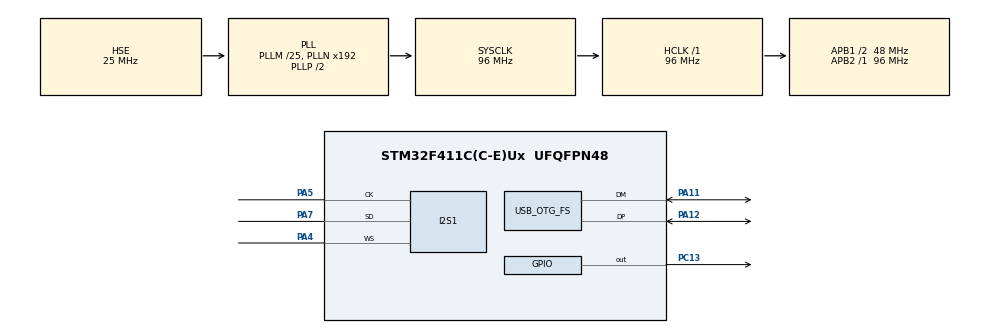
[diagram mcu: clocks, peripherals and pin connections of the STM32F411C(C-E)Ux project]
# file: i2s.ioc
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Dma.Request0=SPI1_RX
Dma.SPI1_RX.0.Direction=DMA_PERIPH_TO_MEMORY
Dma.SPI1_RX.0.FIFOMode=DMA_FIFOMODE_DISABLE
Dma.SPI1_RX.0.Instance=DMA2_Stream0
Dma.SPI1_RX.0.MemDataAlignment=DMA_MDATAALIGN_HALFWORD
Dma.SPI1_RX.0.MemInc=DMA_MINC_ENABLE
Dma.SPI1_RX.0.Mode=DMA_CIRCULAR
Dma.SPI1_RX.0.PeriphDataAlignment=DMA_PDATAALIGN_HALFWORD
Dma.SPI1_RX.0.PeriphInc=DMA_PINC_DISABLE
Dma.SPI1_RX.0.Priority=DMA_PRIORITY_VERY_HIGH
I2S1.AudioFreq=I2S_AUDIOFREQ_48K
I2S1.DataFormat=I2S_DATAFORMAT_24B
I2S1.ErrorAudioFreq=-0.01 %
I2S1.FullDuplexMode=I2S_FULLDUPLEXMODE_DISABLE
I2S1.Instance=SPI$Index
I2S1.Mode=I2S_MODE_MASTER_RX
I2S1.RealAudioFreq=47.991 KHz
I2S1.VirtualMode=I2S_MODE_MASTER
Mcu.Family=STM32F4
Mcu.Name=STM32F411C(C-E)Ux
Mcu.Package=UFQFPN48
NVIC.DMA2_Stream0_IRQn=true\:0\:0\:false\:false\:true\:false\:true
NVIC.OTG_FS_IRQn=true\:0\:0\:false\:false\:true\:true\:true
NVIC.PriorityGroup=NVIC_PRIORITYGROUP_4
NVIC.SPI1_IRQn=true\:0\:0\:false\:false\:true\:true\:true
PA11.Mode=Device_Only
PA11.Signal=USB_OTG_FS_DM
PA12.Mode=Device_Only
PA12.Signal=USB_OTG_FS_DP
PA13.Mode=Serial_Wire
PA13.Signal=SYS_JTMS-SWDIO
PA14.Mode=Serial_Wire
PA14.Signal=SYS_JTCK-SWCLK
PA4.GPIO_Speed=GPIO_SPEED_FREQ_HIGH
PA4.Mode=Half_Duplex_Master
PA4.Signal=I2S1_WS
PA5.GPIO_Speed=GPIO_SPEED_FREQ_HIGH
PA5.Mode=Half_Duplex_Master
PA5.Signal=I2S1_CK
PA7.GPIO_Speed=GPIO_SPEED_FREQ_HIGH
PA7.Mode=Half_Duplex_Master
PA7.Signal=I2S1_SD
PC13-ANTI_TAMP.Signal=GPIO_Output
PH0\ -\ OSC_IN.Mode=HSE-External-Oscillator
PH0\ -\ OSC_IN.Signal=RCC_OSC_IN
PH1\ -\ OSC_OUT.Mode=HSE-External-Oscillator
PH1\ -\ OSC_OUT.Signal=RCC_OSC_OUT
ProjectManager.HeapSize=0x4000
ProjectManager.StackSize=0x2000
ProjectManager.TargetToolchain=STM32CubeIDE
RCC.48MHZClocksFreq_Value=48000000
RCC.AHBFreq_Value=96000000
RCC.APB1CLKDivider=RCC_HCLK_DIV2
RCC.APB1Freq_Value=48000000
RCC.APB1TimFreq_Value=96000000
RCC.APB2Freq_Value=96000000
RCC.APB2TimFreq_Value=96000000
RCC.CortexFreq_Value=96000000
RCC.HCLKFreq_Value=96000000
RCC.HSE_VALUE=25000000
RCC.HSI_VALUE=16000000
RCC.LSE_VALUE=32768
RCC.PLLI2SM=25
RCC.PLLI2SN=129
RCC.PLLM=25
RCC.SYSCLKFreq_VALUE=96000000
RCC.SYSCLKSource=RCC_SYSCLKSOURCE_PLLCLK
RCC.VCOOutputFreq_Value=192000000
USB_DEVICE.CLASS_NAME_FS=AUDIO
USB_DEVICE.PID_AUDIO_FS=0x5730
USB_DEVICE.USBD_AUDIO_FREQ=48000
USB_DEVICE.VirtualMode=Audio
USB_DEVICE.VirtualModeFS=Audio_FS
USB_OTG_FS.VirtualMode=Device_Only
VP_USB_DEVICE_VS_USB_DEVICE_AUDIO_FS.Mode=AUDIO_FS
board=custom

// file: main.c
/* USER CODE BEGIN Header */
/**
  ******************************************************************************
  * @file           : main.c
  * @brief          : Main program body
  ******************************************************************************
  * @attention
  *
  * <h2><center>&copy; Copyright (c) 2026 STMicroelectronics.
  * All rights reserved.</center></h2>
  *
  * This software component is licensed by ST under BSD 3-Clause license,
  * the "License"; You may not use this file except in compliance with the
  * License. You may obtain a copy of the License at:
  *                        opensource.org/licenses/BSD-3-Clause
  *
  ******************************************************************************
  */
/* USER CODE END Header */
#include "main.h"
#include "usb_device.h"

/* USER CODE BEGIN Includes */
#include "usbd_audio.h"
/* USER CODE END Includes */

I2S_HandleTypeDef hi2s1;
DMA_HandleTypeDef hdma_spi1_rx;

void SystemClock_Config(void);
static void MX_GPIO_Init(void);
static void MX_I2S1_Init(void);
static void MX_DMA_Init(void);

/* USER CODE BEGIN 0 */
extern USBD_HandleTypeDef hUsbDeviceFS;
#define MIC_SAMPLES_PER_PACKET   (AUDIO_IN_PACKET / 2)

// I2S raw: 32-bit/sample, x2 kênh (L,R), x2 buffer (đôi, half0/half1)
static int32_t i2s_raw_buf[AUDIO_IN_PACKET * 2]; // một sample là 4bytes -> 48 * 4

void MIC_I2S_Start(void)
{
    HAL_I2S_Receive_DMA(&hi2s1, (uint16_t*)i2s_raw_buf, AUDIO_IN_PACKET * 2);
}

static void I2S_ExtractMono(int32_t *raw, uint8_t half)
{
    USBD_AUDIO_HandleTypeDef *haudio = hUsbDeviceFS.pClassData;
    if (haudio == NULL) return;
    int16_t *dest = haudio->in_buffer + (AUDIO_IN_PACKET / 2) * half;
    for (uint16_t i = 0; i < MIC_SAMPLES_PER_PACKET; i++)
    {
        int32_t sample = (int16_t)(raw[i * 2] & 0xFFFF);
        sample *= 4;                          // This is gain multiplier, in/decrease if the sound is having trouble
        if (sample > 32767) sample = 32767;
        if (sample < -32768) sample = -32768;
        dest[i] = (int16_t)sample;
    }
}

void HAL_I2S_RxHalfCpltCallback(I2S_HandleTypeDef *hi2s)
{
	  I2S_ExtractMono(i2s_raw_buf, 0);
}

void HAL_I2S_RxCpltCallback(I2S_HandleTypeDef *hi2s)
{
	  I2S_ExtractMono(&i2s_raw_buf[MIC_SAMPLES_PER_PACKET * 2], 1);
}

/* USER CODE END 0 */

int main(void)
{

  /* MCU Configuration--------------------------------------------------------*/

  /* Reset of all peripherals, Initializes the Flash interface and the Systick. */
  HAL_Init();

  /* Configure the system clock */
  SystemClock_Config();

  /* Initialize all configured peripherals */
  MX_GPIO_Init();
  MX_DMA_Init();
  MX_I2S1_Init();
  MX_USB_DEVICE_Init();

  /* Infinite loop */
  while (1)
  {

  }
}

void SystemClock_Config(void)
{
  RCC_OscInitTypeDef RCC_OscInitStruct = {0};
  RCC_ClkInitTypeDef RCC_ClkInitStruct = {0};

  /** Configure the main internal regulator output voltage
  */
  __HAL_RCC_PWR_CLK_ENABLE();
  __HAL_PWR_VOLTAGESCALING_CONFIG(PWR_REGULATOR_VOLTAGE_SCALE1);
  /** Initializes the RCC Oscillators according to the specified parameters
  * in the RCC_OscInitTypeDef structure.
  */
  RCC_OscInitStruct.OscillatorType = RCC_OSCILLATORTYPE_HSE;
  RCC_OscInitStruct.HSEState = RCC_HSE_ON;
  RCC_OscInitStruct.PLL.PLLState = RCC_PLL_ON;
  RCC_OscInitStruct.PLL.PLLSource = RCC_PLLSOURCE_HSE;
  RCC_OscInitStruct.PLL.PLLM = 25;
  RCC_OscInitStruct.PLL.PLLN = 192;
  RCC_OscInitStruct.PLL.PLLP = RCC_PLLP_DIV2;
  RCC_OscInitStruct.PLL.PLLQ = 4;
  if (HAL_RCC_OscConfig(&RCC_OscInitStruct) != HAL_OK)
  {
    Error_Handler();
  }
  /** Initializes the CPU, AHB and APB buses clocks
  */
  RCC_ClkInitStruct.ClockType = RCC_CLOCKTYPE_HCLK|RCC_CLOCKTYPE_SYSCLK
                              |RCC_CLOCKTYPE_PCLK1|RCC_CLOCKTYPE_PCLK2;
  RCC_ClkInitStruct.SYSCLKSource = RCC_SYSCLKSOURCE_PLLCLK;
  RCC_ClkInitStruct.AHBCLKDivider = RCC_SYSCLK_DIV1;
  RCC_ClkInitStruct.APB1CLKDivider = RCC_HCLK_DIV2;
  RCC_ClkInitStruct.APB2CLKDivider = RCC_HCLK_DIV1;

  if (HAL_RCC_ClockConfig(&RCC_ClkInitStruct, FLASH_LATENCY_3) != HAL_OK)
  {
    Error_Handler();
  }
}

static void MX_I2S1_Init(void)
{

  hi2s1.Instance = SPI1;
  hi2s1.Init.Mode = I2S_MODE_MASTER_RX;
  hi2s1.Init.Standard = I2S_STANDARD_PHILIPS;
  hi2s1.Init.DataFormat = I2S_DATAFORMAT_24B;
  hi2s1.Init.MCLKOutput = I2S_MCLKOUTPUT_DISABLE;
  hi2s1.Init.AudioFreq = I2S_AUDIOFREQ_48K;
  hi2s1.Init.CPOL = I2S_CPOL_LOW;
  hi2s1.Init.ClockSource = I2S_CLOCK_PLL;
  hi2s1.Init.FullDuplexMode = I2S_FULLDUPLEXMODE_DISABLE;
  if (HAL_I2S_Init(&hi2s1) != HAL_OK)
  {
    Error_Handler();
  }

}

static void MX_DMA_Init(void)
{

  /* DMA controller clock enable */
  __HAL_RCC_DMA2_CLK_ENABLE();

  /* DMA interrupt init */
  /* DMA2_Stream0_IRQn interrupt configuration */
  HAL_NVIC_SetPriority(DMA2_Stream0_IRQn, 0, 0);
  HAL_NVIC_EnableIRQ(DMA2_Stream0_IRQn);

}

static void MX_GPIO_Init(void)
{
  GPIO_InitTypeDef GPIO_InitStruct = {0};

  /* GPIO Ports Clock Enable */
  __HAL_RCC_GPIOC_CLK_ENABLE();
  __HAL_RCC_GPIOH_CLK_ENABLE();
  __HAL_RCC_GPIOA_CLK_ENABLE();
  __HAL_RCC_GPIOB_CLK_ENABLE();

  /*Configure GPIO pin Output Level */
  HAL_GPIO_WritePin(GPIOC, GPIO_PIN_13, GPIO_PIN_RESET);

  /*Configure GPIO pin : PC13 */
  GPIO_InitStruct.Pin = GPIO_PIN_13;
  GPIO_InitStruct.Mode = GPIO_MODE_OUTPUT_PP;
  GPIO_InitStruct.Pull = GPIO_NOPULL;
  GPIO_InitStruct.Speed = GPIO_SPEED_FREQ_LOW;
  HAL_GPIO_Init(GPIOC, &GPIO_InitStruct);

  /*Configure GPIO pins : PC14 PC15 */
  GPIO_InitStruct.Pin = GPIO_PIN_14|GPIO_PIN_15;
  GPIO_InitStruct.Mode = GPIO_MODE_ANALOG;
  GPIO_InitStruct.Pull = GPIO_NOPULL;
  HAL_GPIO_Init(GPIOC, &GPIO_InitStruct);

  /*Configure GPIO pins : PA0 PA1 PA2 PA3
                           PA6 PA8 PA9 PA10
                           PA15 */
  GPIO_InitStruct.Pin = GPIO_PIN_0|GPIO_PIN_1|GPIO_PIN_2|GPIO_PIN_3
                          |GPIO_PIN_6|GPIO_PIN_8|GPIO_PIN_9|GPIO_PIN_10
                          |GPIO_PIN_15;
  GPIO_InitStruct.Mode = GPIO_MODE_ANALOG;
  GPIO_InitStruct.Pull = GPIO_NOPULL;
  HAL_GPIO_Init(GPIOA, &GPIO_InitStruct);

  /*Configure GPIO pins : PB0 PB1 PB2 PB10
                           PB12 PB13 PB14 PB15
                           PB3 PB4 PB5 PB6
                           PB7 PB8 PB9 */
  GPIO_InitStruct.Pin = GPIO_PIN_0|GPIO_PIN_1|GPIO_PIN_2|GPIO_PIN_10
                          |GPIO_PIN_12|GPIO_PIN_13|GPIO_PIN_14|GPIO_PIN_15
                          |GPIO_PIN_3|GPIO_PIN_4|GPIO_PIN_5|GPIO_PIN_6
                          |GPIO_PIN_7|GPIO_PIN_8|GPIO_PIN_9;
  GPIO_InitStruct.Mode = GPIO_MODE_ANALOG;
  GPIO_InitStruct.Pull = GPIO_NOPULL;
  HAL_GPIO_Init(GPIOB, &GPIO_InitStruct);

}

void Error_Handler(void)
{
  __disable_irq();
  while (1)
  {
  }
}

/************************ (C) COPYRIGHT STMicroelectronics *****END OF FILE****/
